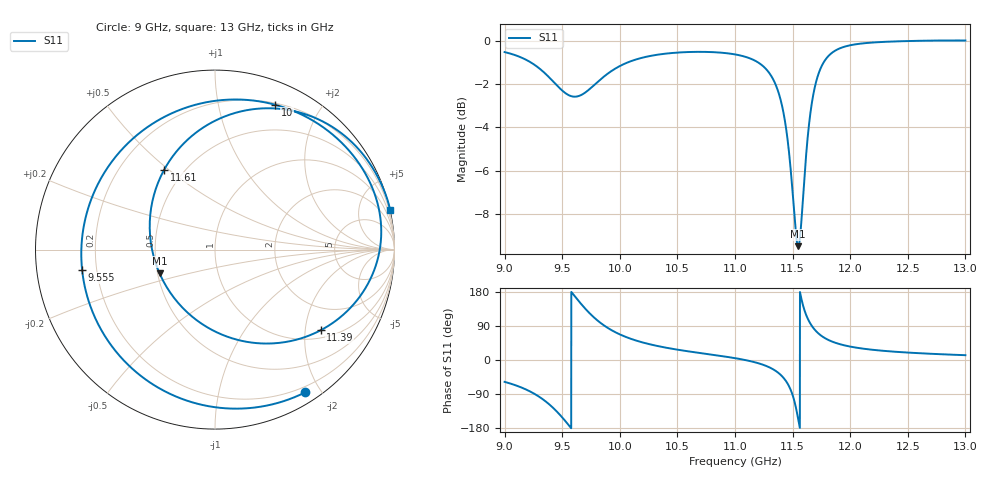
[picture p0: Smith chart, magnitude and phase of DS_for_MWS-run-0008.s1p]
! TOUCHSTONE file generated by CST DESIGN STUDIO
! Date and time: Tue Feb  4 16:00:40 2025
! Project name: C:\Work\MatlabApps\UnitCellOptimizationMatlab\CST\unitcell.cst
! Tree item: Tasks\Sweep1\SPara1\S-Parameters
! Header version: 2024
! Port assignment regex: !\s*Touchstone port\s*([0-9]+)\s*=\s*(CST MWS port|CST DES external port|CST DES block port)\s*(.+)\s* \(\"(.*)\"\)(\s*mode\s*([0-9]+))?.*
! Touchstone port assignment:
! Touchstone port 1 = CST DES external port 1 ("")
# GHz S MA R 50
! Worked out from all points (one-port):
!   4001 points, 9 GHz to 13 GHz, reference 50 ohm
!   lowest |S11| = -9.5 dB at 11.55 GHz (marker M1), VSWR 2.01, Z = 25.6 - j7.69 ohm
!   |S11| at or under -10 dB: nowhere
!   S11 on the Smith chart (normalised r, x): 9 GHz: 0.13, -1.81; 9.555 GHz: 0.14, -0.07; 10 GHz: 0.22, +1.48; 11.39 GHz: 1.22, -2.42; 11.61 GHz: 0.39, +0.48; 13 GHz: -0.02, +8.98
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9  0.9408 -57.7
9.156  0.9113 -73.8
9.306  0.8609 -98.2
9.405  0.8135 -121.8
9.5  0.7672 -151.5
9.555  0.749 -171.3
9.647  0.7457 154.1
9.765  0.7845 115.4
9.867  0.8281 90.3
10  0.8736 67.6
10.002  0.8742 67.3
10.214  0.9157 45.0
10.5  0.9383 27.3
11  0.9293 4.9
11.25  0.8702 -13.3
11.328  0.8172 -24.0
11.39  0.7404 -37.4
11.455  0.5955 -61.5
11.5  0.447 -92.4
11.549  0.336 -156.7
11.58  0.3957 156.6
11.613  0.5269 122.6
11.661  0.7007 92.7
11.717  0.8262 72.1
11.832  0.9327 50.0
12  0.9755 35.4
12.5  0.9976 19.6
13  1 12.7
